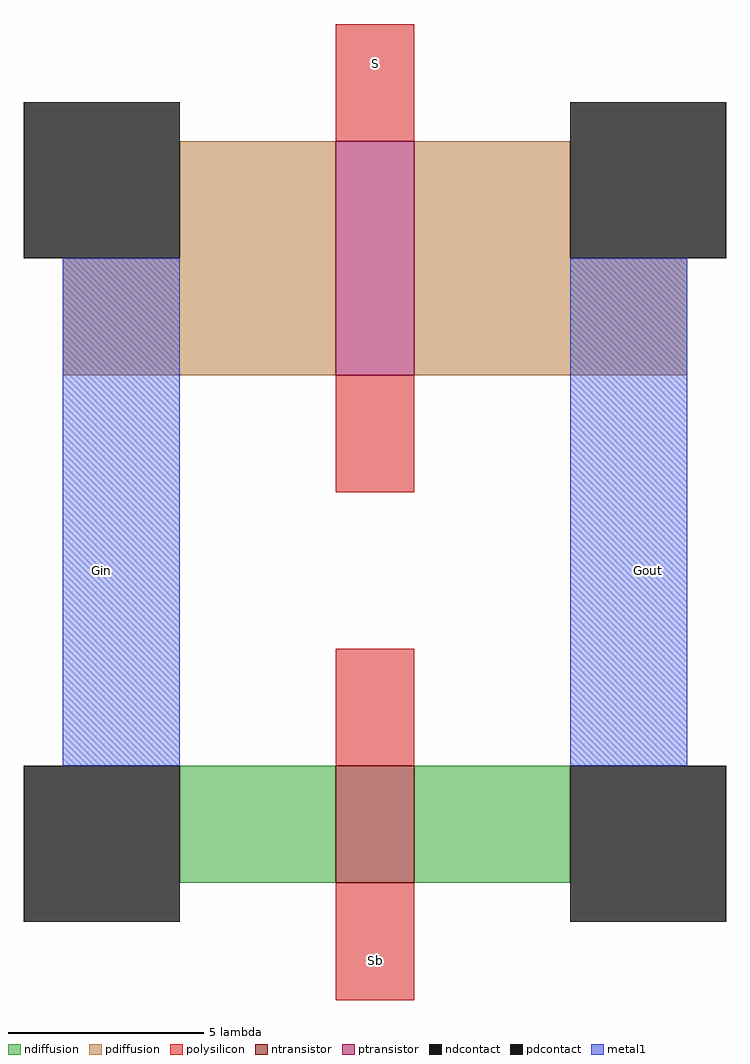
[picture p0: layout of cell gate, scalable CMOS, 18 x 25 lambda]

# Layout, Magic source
magic
tech scmos
<< polysilicon >>
rect -1 17 1 20
rect -1 8 1 11
rect -1 1 1 4
rect -1 -5 1 -2
<< ndiffusion >>
rect -5 -2 -1 1
rect 1 -2 5 1
<< pdiffusion >>
rect -5 14 -1 17
rect -8 11 -1 14
rect 1 14 5 17
rect 1 11 8 14
<< metal1 >>
rect -8 1 -5 14
rect 5 1 8 14
<< ntransistor >>
rect -1 -2 1 1
<< ptransistor >>
rect -1 11 1 17
<< ndcontact >>
rect -9 -3 -5 1
rect 5 -3 9 1
<< pdcontact >>
rect -9 14 -5 18
rect 5 14 9 18
<< labels >>
rlabel polysilicon 0 19 0 19 5 S
rlabel polysilicon 0 -4 0 -4 1 Sb
rlabel metal1 -7 6 -7 6 3 Gin
rlabel metal1 7 6 7 6 7 Gout
<< end >>
